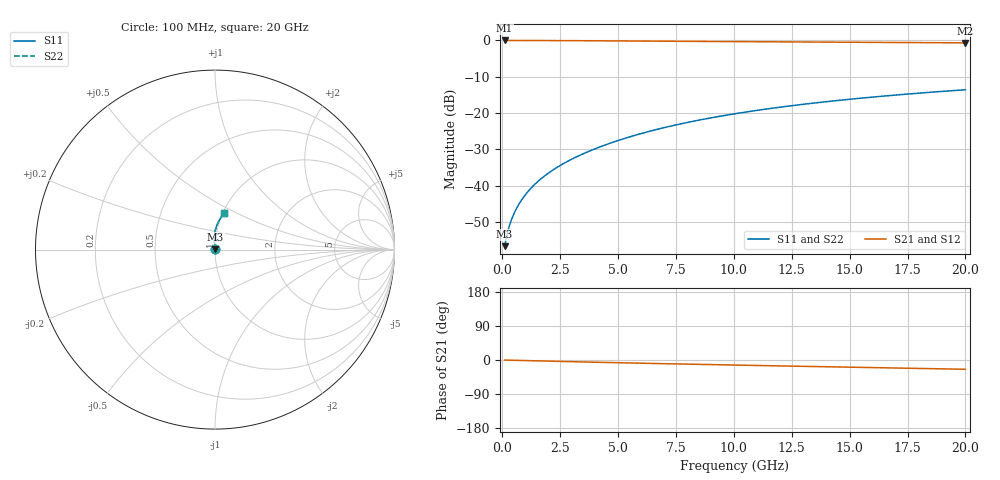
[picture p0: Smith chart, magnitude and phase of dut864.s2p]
! Touchstone file exported from HFSS 2024.1.0
!  File:  C:/UserFiles/LocalFiles/RDL_TSV_Batchsim/temp_RDL_top_864_1779856214.aedt
!  Generated:  12:32:05 PM May 27, 2026
!  Design:  RDL_top
!  Project:  temp_RDL_top_864_1779856214
!  Setup:  Setup1
!  Solution:  Sweep
! Variables:
!  dtsv = 10.80580581um
!  hbump = 3um
!  htsv = 69.97um
!  ldown = 100um
!  lrdl = 352.09um
!  p = 40
!  p1 = 52.41um
!  rhole = 1um
!  t = 450um
!  tdown = 3.915915916um
!  trdl = 4.43um
!  wdown = 15.38538539um
!  wrdl = 29.17um
# GHz S MA R 50.000000
! Terminal data exported
! Port[1] = Box2_T1
! Port[2] = Box2_T2
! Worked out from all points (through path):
!   200 points, 100 MHz to 20 GHz, reference 50 ohm
!   highest |S21| = -0.01 dB at 100 MHz (marker M1); lowest = -0.7 dB at 20 GHz (marker M2)
!   group delay of S21, straight-line fit = 3.33 ps
!   lowest |S11| = -56.7 dB at 100 MHz (marker M3), VSWR 1.00, Z = 50.1 + j0.0867 ohm
!   |S11| at or under -10 dB: start of sweep to end of sweep
!   |S22| runs from -56.7 to -13.6 dB; largest |S21 - S12| = 2.6e-15
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0.1  0.001466 36.2  0.9988 -0.2  0.9988 -0.2  0.001466 36.2
! Gamma 0 0 0 0
! Port Impedance 50 0 50 0
0.2  0.002096 52.6  0.9987 -0.3  0.9987 -0.3  0.002096 52.6
0.3  0.00276 60.7  0.9986 -0.5  0.9986 -0.5  0.00276 60.7
0.4  0.003419 66.0  0.9984 -0.6  0.9984 -0.6  0.003419 66.0
0.5  0.00408 69.8  0.9983 -0.8  0.9983 -0.8  0.00408 69.8
0.6  0.004748 72.8  0.9982 -0.9  0.9982 -0.9  0.004748 72.8
0.8  0.006112 77.2  0.998 -1.2  0.998 -1.2  0.006111 77.2
1.1  0.008221 81.7  0.9976 -1.7  0.9976 -1.7  0.008221 81.7
1.3  0.009666 83.8  0.9972 -2.0  0.9972 -2.0  0.009666 83.8
1.6  0.01189 86.2  0.9966 -2.4  0.9966 -2.4  0.01189 86.2
2.1  0.01573 89.1  0.9954 -3.2  0.9954 -3.2  0.01573 89.1
2.7  0.02059 91.4  0.9936 -4.0  0.9936 -4.0  0.02059 91.4
3.5  0.02752 93.4  0.9907 -5.2  0.9907 -5.2  0.02752 93.4
4.2  0.03399 94.3  0.9879 -6.1  0.9879 -6.1  0.03399 94.3
5  0.04182 94.8  0.9844 -7.2  0.9844 -7.2  0.04183 94.8
6.8  0.06083 94.3  0.9763 -9.5  0.9763 -9.5  0.06084 94.3
8.4  0.07878 92.7  0.9693 -11.4  0.9693 -11.4  0.0788 92.7
10.1  0.09838 90.5  0.9623 -13.4  0.9623 -13.4  0.0984 90.5
11.7  0.1169 88.1  0.956 -15.3  0.956 -15.3  0.117 88.1
13.4  0.1365 85.6  0.9496 -17.2  0.9496 -17.2  0.1366 85.6
16.7  0.1737 80.6  0.9377 -20.9  0.9377 -20.9  0.1737 80.6
20  0.2092 75.9  0.9261 -24.5  0.9261 -24.5  0.2092 75.9
